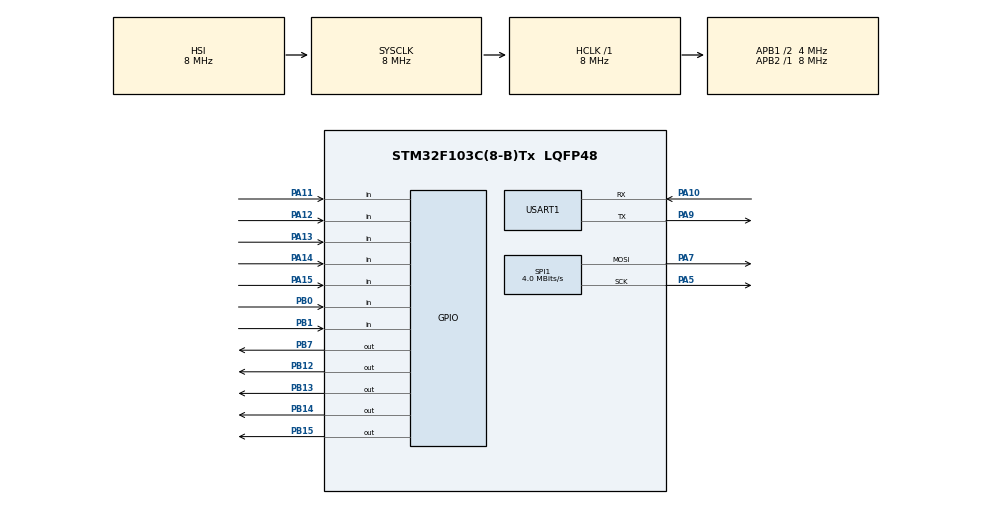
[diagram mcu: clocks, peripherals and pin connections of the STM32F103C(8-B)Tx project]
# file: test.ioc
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Mcu.Family=STM32F1
Mcu.Name=STM32F103C(8-B)Tx
Mcu.Package=LQFP48
NVIC.PriorityGroup=NVIC_PRIORITYGROUP_4
PA10.Mode=Asynchronous
PA10.Signal=USART1_RX
PA11.GPIO_PuPd=GPIO_PULLUP
PA11.Signal=GPIO_Input
PA12.GPIO_PuPd=GPIO_PULLUP
PA12.Signal=GPIO_Input
PA13.GPIO_PuPd=GPIO_PULLUP
PA13.Signal=GPIO_Input
PA14.GPIO_PuPd=GPIO_PULLUP
PA14.Signal=GPIO_Input
PA15.GPIO_PuPd=GPIO_PULLUP
PA15.Signal=GPIO_Input
PA5.Mode=TX_Only_Simplex_Unidirect_Master
PA5.Signal=SPI1_SCK
PA7.Mode=TX_Only_Simplex_Unidirect_Master
PA7.Signal=SPI1_MOSI
PA9.Mode=Asynchronous
PA9.Signal=USART1_TX
PB0.GPIO_PuPd=GPIO_PULLUP
PB0.Signal=GPIO_Input
PB1.GPIO_PuPd=GPIO_PULLUP
PB1.Signal=GPIO_Input
PB12.Signal=GPIO_Output
PB13.Signal=GPIO_Output
PB14.Signal=GPIO_Output
PB15.Signal=GPIO_Output
PB7.PinState=GPIO_PIN_RESET
PB7.Signal=GPIO_Output
PD0-OSC_IN.Mode=HSE-External-Oscillator
PD0-OSC_IN.Signal=RCC_OSC_IN
PD1-OSC_OUT.Mode=HSE-External-Oscillator
PD1-OSC_OUT.Signal=RCC_OSC_OUT
ProjectManager.HeapSize=0x200
ProjectManager.StackSize=0x400
ProjectManager.TargetToolchain=STM32CubeIDE
RCC.AHBFreq_Value=8000000
RCC.APB1CLKDivider=RCC_HCLK_DIV2
RCC.APB1Freq_Value=4000000
RCC.APB1TimFreq_Value=8000000
RCC.APB2Freq_Value=8000000
RCC.APB2TimFreq_Value=8000000
RCC.HCLKFreq_Value=8000000
RCC.PLLMUL=RCC_PLL_MUL4
RCC.PLLSourceVirtual=RCC_PLLSOURCE_HSE
RCC.SYSCLKFreq_VALUE=8000000
RCC.USBFreq_Value=32000000
SPI1.BaudRatePrescaler=SPI_BAUDRATEPRESCALER_2
SPI1.CalculateBaudRate=4.0 MBits/s
SPI1.Direction=SPI_DIRECTION_2LINES
SPI1.Mode=SPI_MODE_MASTER
SPI1.VirtualType=VM_MASTER
USART1.VirtualMode=VM_ASYNC
VP_RTC_VS_RTC_Activate.Mode=RTC_Enabled
VP_SYS_VS_ND.Mode=No_Debug
board=custom

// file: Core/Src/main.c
/* USER CODE BEGIN Header */
/**
  ******************************************************************************
  * @file           : main.c
  * @brief          : Main program body
  ******************************************************************************
  * @attention
  *
  * Copyright (c) 2023 STMicroelectronics.
  * All rights reserved.
  *
  * This software is licensed under terms that can be found in the LICENSE file
  * in the root directory of this software component.
  * If no LICENSE file comes with this software, it is provided AS-IS.
  *
  ******************************************************************************
  */
/* USER CODE END Header */
#include "main.h"

/* USER CODE BEGIN Includes */
#include "fonts.h"
#include "ST7735.h"
#include "table_content.h"
/* USER CODE END Includes */

 RTC_HandleTypeDef hrtc;

SPI_HandleTypeDef hspi1;

UART_HandleTypeDef huart1;

void SystemClock_Config(void);
static void MX_GPIO_Init(void);
static void MX_SPI1_Init(void);
static void MX_RTC_Init(void);
static void MX_USART1_UART_Init(void);

/* USER CODE BEGIN 0 */
void show_table(int bcolor, int fcolor)
{
	state = TABLE_SHOWING;
	ST7735_FillScreen(bcolor);

	for (int i = 0; i < main_table.size; ++i) {
		char format_string[20];
		for (int j = 0; j < main_table.size; ++j) {
			format_string[j * 3] = main_table.data[i][j] / 10 + '0';
			format_string[j * 3 + 1] = main_table.data[i][j] % 10 + '0';
			format_string[j * 3 + 2] = ' ';
		}
		format_string[main_table.size * 3 - 1] = '\0';
		ST7735_DrawString(3, 3 + i * 15, format_string, Font_7x10, fcolor, bcolor);
	}

	for(int i = 1; i < main_table.size; ++i) {
		ST7735_DrawLine(i * 18, 0, i * 18, main_table.size * 14 + 4, fcolor);
		ST7735_DrawLine(0, i * 15, 18 * main_table.size + 2, i * 15, fcolor);
	}

	char format_string[] = "Size: _x_";
	format_string[6] = format_string[8] =  main_table.size + '0';
	ST7735_DrawString(3, 3 + (main_table.size + 1) * 15, format_string, Font_7x10, fcolor, bcolor);
}

void write_size(int bcolor, int fcolor) {
	if (main_table.size == 0) {
		ST7735_DrawString(3, 78, "None", Font_7x10, fcolor, bcolor);
		state = CHOOSING_SIZE;
	} else {
		char format_str[5] = "    \0";
		format_str[0] = main_table.size + '0';
		ST7735_DrawString(3, 78, format_str, Font_7x10, fcolor, bcolor);
		state = CHOSED_SIZE;
	}
}

void reset_screen(int bcolor, int fcolor) {
	  ST7735_FillScreen(bcolor);
	  ST7735_DrawString(3, 3, "Choose size from", Font_7x10, fcolor, bcolor);
	  ST7735_DrawString(3, 18, "[3;7] by pressing", Font_7x10, fcolor, bcolor);
	  ST7735_DrawString(3, 33, "corresponding button", Font_7x10, fcolor, bcolor);
	  ST7735_DrawString(3, 63, "Chosen size:", Font_7x10, fcolor, bcolor);
	  write_size(bcolor, fcolor);
}

void size_chosed(int size, int entropy, int bcolor, int fcolor) {
	main_table.size = size;
	write_size(bcolor, fcolor);
	fill_table(&main_table, entropy, HAL_GetTick());
	state = CHOSED_SIZE;
}

/* USER CODE END 0 */

int main(void)
{

  /* MCU Configuration--------------------------------------------------------*/

  /* Reset of all peripherals, Initializes the Flash interface and the Systick. */
  HAL_Init();

  /* Configure the system clock */
  SystemClock_Config();

  /* Initialize all configured peripherals */
  MX_GPIO_Init();
  MX_SPI1_Init();
  MX_RTC_Init();
  MX_USART1_UART_Init();
  /* USER CODE BEGIN 2 */
  int bcolor = ST7735_BLACK;
  int fcolor = ST7735_WHITE;
  ST7735_Init();
  reset_screen(bcolor, fcolor);
  int time = 0;
  /* USER CODE END 2 */

  /* Infinite loop */
  while (1)
  {

    /* USER CODE BEGIN 3 */
	  if (HAL_GPIO_ReadPin(GPIOA, GPIO_PIN_11) == 0 && state != TABLE_SHOWING) {
		  size_chosed(3, 18, bcolor, fcolor);
	  } else if (HAL_GPIO_ReadPin(GPIOA, GPIO_PIN_12) == 0 && state != TABLE_SHOWING) {
		  size_chosed(4, 32, bcolor, fcolor);
	  }  else if (HAL_GPIO_ReadPin(GPIOA, GPIO_PIN_13) == 0 && state != TABLE_SHOWING) {
		  size_chosed(5, 50, bcolor, fcolor);
	  } else if (HAL_GPIO_ReadPin(GPIOA, GPIO_PIN_14) == 0 && state != TABLE_SHOWING) {
		  size_chosed(6, 72, bcolor, fcolor);
	  } else if (HAL_GPIO_ReadPin(GPIOA, GPIO_PIN_15) == 0 && state != TABLE_SHOWING) {
		  size_chosed(7, 98, bcolor, fcolor);
	  } else if (HAL_GPIO_ReadPin(GPIOB, GPIO_PIN_0) == 0 && state == CHOSED_SIZE) {
		  show_table(bcolor, fcolor);
		  time = HAL_GetTick();
	  } else if (HAL_GPIO_ReadPin(GPIOB, GPIO_PIN_1) == 0 && state == TABLE_SHOWING) {
		  time = HAL_GetTick() - time;
		  results[main_table.size - 3].time_sum += time;
		  ++results[main_table.size - 3].count;

		  char new_record[100], mean_record[100];
		  sprintf(new_record, "New result for %dx%d table:  %02d:%02d:%03d\r\n", main_table.size, main_table.size, time / 60000, (time / 1000) % 60, time % 1000);
		  int sum_time = results[main_table.size - 3].time_sum / results[main_table.size - 3].count;
		  sprintf(mean_record, "Mean result for %dx%d table: %02d:%02d:%03d\r\n", main_table.size, main_table.size, sum_time / 60000, (sum_time / 1000) % 60, sum_time % 1000);

		  HAL_UART_Transmit(&huart1, (uint8_t *)new_record, strlen(new_record), 100);

		  if (time <= results[main_table.size - 3].best_time) {
			  char message[40];
			  sprintf(message, "New best time for %dx%d table!\r\n", main_table.size, main_table.size);
			  HAL_UART_Transmit(&huart1, (uint8_t *)message, strlen(message), 100);
			  results[main_table.size - 3].best_time = time;
		  }

		  HAL_UART_Transmit(&huart1, (uint8_t *)mean_record, strlen(mean_record), 100);
		  HAL_UART_Transmit(&huart1, (uint8_t *)"\r\n", strlen("\r\n"), 100);

		  if (time == results[main_table.size - 3].best_time) {
			  for (int i = 0; i < 100; ++i) {
				  HAL_GPIO_WritePin(GPIOB, GPIO_PIN_7, 0);
				  HAL_Delay(15);
				  HAL_GPIO_WritePin(GPIOB, GPIO_PIN_7, 1);
				  HAL_Delay(5);
			  }
		  }

		  main_table.size = 0;
		  reset_screen(bcolor, fcolor);
	  }
  }
  /* USER CODE END 3 */
}

void SystemClock_Config(void)
{
  RCC_OscInitTypeDef RCC_OscInitStruct = {0};
  RCC_ClkInitTypeDef RCC_ClkInitStruct = {0};
  RCC_PeriphCLKInitTypeDef PeriphClkInit = {0};

  /** Initializes the RCC Oscillators according to the specified parameters
  * in the RCC_OscInitTypeDef structure.
  */
  RCC_OscInitStruct.OscillatorType = RCC_OSCILLATORTYPE_HSI|RCC_OSCILLATORTYPE_LSI;
  RCC_OscInitStruct.HSIState = RCC_HSI_ON;
  RCC_OscInitStruct.HSICalibrationValue = RCC_HSICALIBRATION_DEFAULT;
  RCC_OscInitStruct.LSIState = RCC_LSI_ON;
  RCC_OscInitStruct.PLL.PLLState = RCC_PLL_NONE;
  if (HAL_RCC_OscConfig(&RCC_OscInitStruct) != HAL_OK)
  {
    Error_Handler();
  }

  /** Initializes the CPU, AHB and APB buses clocks
  */
  RCC_ClkInitStruct.ClockType = RCC_CLOCKTYPE_HCLK|RCC_CLOCKTYPE_SYSCLK
                              |RCC_CLOCKTYPE_PCLK1|RCC_CLOCKTYPE_PCLK2;
  RCC_ClkInitStruct.SYSCLKSource = RCC_SYSCLKSOURCE_HSI;
  RCC_ClkInitStruct.AHBCLKDivider = RCC_SYSCLK_DIV1;
  RCC_ClkInitStruct.APB1CLKDivider = RCC_HCLK_DIV2;
  RCC_ClkInitStruct.APB2CLKDivider = RCC_HCLK_DIV1;

  if (HAL_RCC_ClockConfig(&RCC_ClkInitStruct, FLASH_LATENCY_0) != HAL_OK)
  {
    Error_Handler();
  }
  PeriphClkInit.PeriphClockSelection = RCC_PERIPHCLK_RTC;
  PeriphClkInit.RTCClockSelection = RCC_RTCCLKSOURCE_LSI;
  if (HAL_RCCEx_PeriphCLKConfig(&PeriphClkInit) != HAL_OK)
  {
    Error_Handler();
  }
}

static void MX_RTC_Init(void)
{

  /** Initialize RTC Only
  */
  hrtc.Instance = RTC;
  hrtc.Init.AsynchPrediv = RTC_AUTO_1_SECOND;
  hrtc.Init.OutPut = RTC_OUTPUTSOURCE_ALARM;
  if (HAL_RTC_Init(&hrtc) != HAL_OK)
  {
    Error_Handler();
  }

}

static void MX_SPI1_Init(void)
{

  /* SPI1 parameter configuration*/
  hspi1.Instance = SPI1;
  hspi1.Init.Mode = SPI_MODE_MASTER;
  hspi1.Init.Direction = SPI_DIRECTION_2LINES;
  hspi1.Init.DataSize = SPI_DATASIZE_8BIT;
  hspi1.Init.CLKPolarity = SPI_POLARITY_LOW;
  hspi1.Init.CLKPhase = SPI_PHASE_1EDGE;
  hspi1.Init.NSS = SPI_NSS_SOFT;
  hspi1.Init.BaudRatePrescaler = SPI_BAUDRATEPRESCALER_2;
  hspi1.Init.FirstBit = SPI_FIRSTBIT_MSB;
  hspi1.Init.TIMode = SPI_TIMODE_DISABLE;
  hspi1.Init.CRCCalculation = SPI_CRCCALCULATION_DISABLE;
  hspi1.Init.CRCPolynomial = 10;
  if (HAL_SPI_Init(&hspi1) != HAL_OK)
  {
    Error_Handler();
  }

}

static void MX_USART1_UART_Init(void)
{

  huart1.Instance = USART1;
  huart1.Init.BaudRate = 115200;
  huart1.Init.WordLength = UART_WORDLENGTH_8B;
  huart1.Init.StopBits = UART_STOPBITS_1;
  huart1.Init.Parity = UART_PARITY_NONE;
  huart1.Init.Mode = UART_MODE_TX_RX;
  huart1.Init.HwFlowCtl = UART_HWCONTROL_NONE;
  huart1.Init.OverSampling = UART_OVERSAMPLING_16;
  if (HAL_UART_Init(&huart1) != HAL_OK)
  {
    Error_Handler();
  }

}

static void MX_GPIO_Init(void)
{
  GPIO_InitTypeDef GPIO_InitStruct = {0};

  /* GPIO Ports Clock Enable */
  __HAL_RCC_GPIOD_CLK_ENABLE();
  __HAL_RCC_GPIOA_CLK_ENABLE();
  __HAL_RCC_GPIOB_CLK_ENABLE();

  /*Configure GPIO pin Output Level */
  HAL_GPIO_WritePin(GPIOB, GPIO_PIN_12|GPIO_PIN_13|GPIO_PIN_14|GPIO_PIN_15
                          |GPIO_PIN_7, GPIO_PIN_RESET);

  /*Configure GPIO pins : PB0 PB1 */
  GPIO_InitStruct.Pin = GPIO_PIN_0|GPIO_PIN_1;
  GPIO_InitStruct.Mode = GPIO_MODE_INPUT;
  GPIO_InitStruct.Pull = GPIO_PULLUP;
  HAL_GPIO_Init(GPIOB, &GPIO_InitStruct);

  /*Configure GPIO pins : PB12 PB13 PB14 PB15
                           PB7 */
  GPIO_InitStruct.Pin = GPIO_PIN_12|GPIO_PIN_13|GPIO_PIN_14|GPIO_PIN_15
                          |GPIO_PIN_7;
  GPIO_InitStruct.Mode = GPIO_MODE_OUTPUT_PP;
  GPIO_InitStruct.Pull = GPIO_NOPULL;
  GPIO_InitStruct.Speed = GPIO_SPEED_FREQ_LOW;
  HAL_GPIO_Init(GPIOB, &GPIO_InitStruct);

  /*Configure GPIO pins : PA11 PA12 PA13 PA14
                           PA15 */
  GPIO_InitStruct.Pin = GPIO_PIN_11|GPIO_PIN_12|GPIO_PIN_13|GPIO_PIN_14
                          |GPIO_PIN_15;
  GPIO_InitStruct.Mode = GPIO_MODE_INPUT;
  GPIO_InitStruct.Pull = GPIO_PULLUP;
  HAL_GPIO_Init(GPIOA, &GPIO_InitStruct);

}

void Error_Handler(void)
{
  __disable_irq();
  while (1)
  {
  }
}
